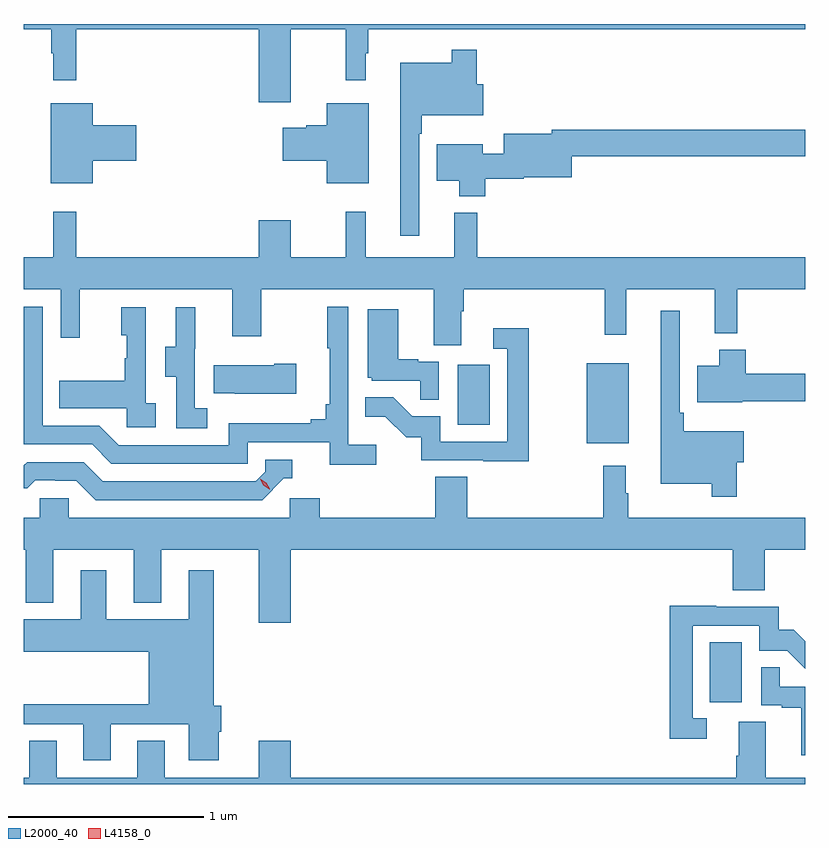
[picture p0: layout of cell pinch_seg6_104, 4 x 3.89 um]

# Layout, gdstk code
import gdstk
lib = gdstk.Library(unit=1e-6, precision=1e-09)
def R(c, l, rs):  # rectangles x0, y0, x1, y1
    for r in rs: c.add(gdstk.rectangle(r[:2], r[2:], *l))
def P(c, l, *ps):  # polygons
    for p in ps: c.add(gdstk.Polygon(p, *l))
L2000_40 = (2000, 40)
L4158_0 = (4158, 0)

pinch_seg6_104 = lib.new_cell('pinch_seg6_104')
R(pinch_seg6_104, L2000_40, [(898.586,915.918,898.75,916.225), (897.956,917.243,898.171,917.653), (897.296,917.34,897.46,917.647)])
P(pinch_seg6_104, L2000_40, [(896.44,919.364),(896.722,919.364),(896.722,919.101),(896.824,919.101),(896.824,919.241),(896.836,919.241),(896.836,919.364),(899.074,919.364),(899.074,919.39),(895.074,919.39),(895.074,919.364),(895.215,919.364),(895.215,919.241),(895.226,919.241),(895.226,919.101),(895.343,919.101),(895.343,919.364),(896.276,919.364),(896.276,918.99),(896.44,918.99)],
  [(897.099,918.827),(897.112,918.827),(897.112,918.923),(897.427,918.923),(897.427,919.081),(897.392,919.081),(897.392,919.258),(897.264,919.258),(897.264,919.192),(897.002,919.192),(897.002,918.306),(897.099,918.306)],
  [(895.426,918.689),(895.651,918.689),(895.651,918.872),(895.426,918.872),(895.426,918.985),(895.211,918.985),(895.211,918.575),(895.426,918.575)],
  [(896.839,918.985),(896.624,918.985),(896.624,918.872),(896.52,918.872),(896.52,918.859),(896.4,918.859),(896.4,918.689),(896.624,918.689),(896.624,918.575),(896.839,918.575)],
  [(897.437,918.598),(897.634,918.598),(897.634,918.605),(897.88,918.605),(897.88,918.712),(899.074,918.712),(899.074,918.848),(897.776,918.848),(897.776,918.829),(897.53,918.829),(897.53,918.727),(897.424,918.727),(897.424,918.775),(897.188,918.775),(897.188,918.587),(897.302,918.587),(897.302,918.509),(897.437,918.509)],
  [(897.313,917.92),(897.326,917.92),(897.326,918.032),(898.047,918.032),(898.047,917.799),(898.157,917.799),(898.157,918.032),(898.61,918.032),(898.61,917.807),(898.727,917.807),(898.727,918.032),(899.074,918.032),(899.074,918.196),(897.395,918.196),(897.395,918.424),(897.278,918.424),(897.278,918.196),(896.825,918.196),(896.825,918.43),(896.722,918.43),(896.722,918.196),(896.44,918.196),(896.44,918.385),(896.276,918.385),(896.276,918.196),(895.343,918.196),(895.343,918.43),(895.226,918.43),(895.226,918.196),(895.074,918.196),(895.074,918.032),(895.263,918.032),(895.263,917.784),(895.361,917.784),(895.361,918.032),(896.141,918.032),(896.141,917.793),(896.289,917.793),(896.289,918.032),(897.173,918.032),(897.173,917.746),(897.313,917.746)],
  [(896.878,917.236),(896.736,917.236),(896.736,917.944),(896.628,917.944),(896.628,917.731),(896.639,917.731),(896.639,917.443),(896.62,917.443),(896.62,917.366),(896.543,917.366),(896.543,917.347),(896.124,917.347),(896.124,917.235),(895.56,917.235),(895.461,917.334),(895.17,917.334),(895.17,917.943),(895.074,917.943),(895.074,917.238),(895.424,917.238),(895.523,917.139),(896.22,917.139),(896.22,917.25),(896.639,917.25),(896.639,917.134),(896.878,917.134)],
  [(896.014,917.423),(895.95,917.423),(895.95,917.727),(895.952,917.727),(895.952,917.941),(895.853,917.941),(895.853,917.739),(895.799,917.739),(895.799,917.584),(895.854,917.584),(895.854,917.32),(896.014,917.32)],
  [(895.75,917.45),(895.698,917.45),(895.698,917.941),(895.574,917.941),(895.574,917.796),(895.6,917.796),(895.6,917.678),(895.59,917.678),(895.59,917.563),(895.255,917.563),(895.255,917.423),(895.602,917.423),(895.602,917.325),(895.75,917.325)],
  [(897.198,917.661),(897.092,917.661),(897.092,917.674),(896.992,917.674),(896.992,917.929),(896.834,917.929),(896.834,917.58),(896.856,917.58),(896.856,917.565),(897.103,917.565),(897.103,917.467),(897.198,917.467)],
  [(898.724,917.147),(898.759,917.147),(898.759,917.305),(898.451,917.305),(898.451,917.401),(898.431,917.401),(898.431,917.923),(898.334,917.923),(898.334,917.036),(898.596,917.036),(898.596,916.971),(898.724,916.971)],
  [(897.658,917.833),(897.477,917.833),(897.477,917.727),(897.549,917.727),(897.549,917.253),(897.207,917.253),(897.207,917.382),(897.063,917.382),(896.965,917.48),(896.821,917.48),(896.821,917.381),(896.925,917.381),(897.032,917.274),(897.109,917.274),(897.109,917.157),(897.427,917.157),(897.427,917.152),(897.658,917.152)],
  [(898.752,917.459),(899.074,917.459),(899.074,917.601),(898.769,917.601),(898.769,917.722),(898.634,917.722),(898.634,917.641),(898.52,917.641),(898.52,917.453),(898.752,917.453)],
  [(896.47,917.652),(896.357,917.652),(896.357,917.644),(896.047,917.644),(896.047,917.501),(896.155,917.501),(896.155,917.498),(896.47,917.498)],
  [(896.406,917.064),(896.449,917.064),(896.449,917.16),(896.31,917.16),(896.31,917.097),(896.262,917.049),(895.479,917.049),(895.38,917.148),(895.091,917.148),(895.074,917.131),(895.074,917.013),(895.091,917.013),(895.133,917.055),(895.236,917.055),(895.236,917.052),(895.343,917.052),(895.442,916.953),(896.295,916.953)],
  [(896.44,916.7),(898.703,916.7),(898.703,916.492),(898.868,916.492),(898.868,916.7),(899.074,916.7),(899.074,916.864),(898.168,916.864),(898.168,916.988),(898.156,916.988),(898.156,917.128),(898.039,917.128),(898.039,916.864),(897.344,916.864),(897.344,917.072),(897.179,917.072),(897.179,916.864),(896.588,916.864),(896.588,916.962),(896.436,916.962),(896.436,916.864),(895.305,916.864),(895.305,916.962),(895.155,916.962),(895.155,916.864),(895.074,916.864),(895.074,916.7),(895.085,916.7),(895.085,916.427),(895.225,916.427),(895.225,916.7),(895.637,916.7),(895.637,916.427),(895.777,916.427),(895.777,916.7),(896.276,916.7),(896.276,916.326),(896.44,916.326)],
  [(895.519,915.807),(895.919,915.807),(895.919,915.621),(896.071,915.621),(896.071,915.767),(896.084,915.767),(896.084,915.9),(896.047,915.9),(896.047,916.594),(895.919,916.594),(895.919,916.342),(895.495,916.342),(895.495,916.594),(895.367,916.594),(895.367,916.342),(895.074,916.342),(895.074,916.178),(895.715,916.178),(895.715,915.908),(895.074,915.908),(895.074,915.807),(895.379,915.807),(895.379,915.621),(895.519,915.621)],
  [(898.57,915.837),(898.497,915.837),(898.497,916.311),(898.839,916.311),(898.839,916.182),(898.983,916.182),(899.074,916.091),(899.074,916.23),(899.014,916.29),(898.938,916.29),(898.938,916.407),(898.619,916.407),(898.619,916.412),(898.381,916.412),(898.381,915.732),(898.57,915.732)],
  [(899.074,915.999),(898.943,915.999),(898.943,916.097),(898.848,916.097),(898.848,915.903),(898.955,915.903),(898.955,915.891),(899.054,915.891),(899.054,915.648),(899.074,915.648)],
  [(899.074,915.532),(898.873,915.532),(898.873,915.818),(898.733,915.818),(898.733,915.644),(898.721,915.644),(898.721,915.532),(896.44,915.532),(896.44,915.721),(896.276,915.721),(896.276,915.532),(895.795,915.532),(895.795,915.722),(895.655,915.722),(895.655,915.532),(895.243,915.532),(895.243,915.722),(895.103,915.722),(895.103,915.532),(895.074,915.532),(895.074,915.5),(899.074,915.5)])
P(pinch_seg6_104, L4158_0, [(896.331,917.009),(896.301,917.029),(896.285,917.061),(896.285,917.062),(896.285,917.062),(896.316,917.042),(896.332,917.01),(896.332,917.009)])

lib.write_gds('pinch_seg6_104.gds')
